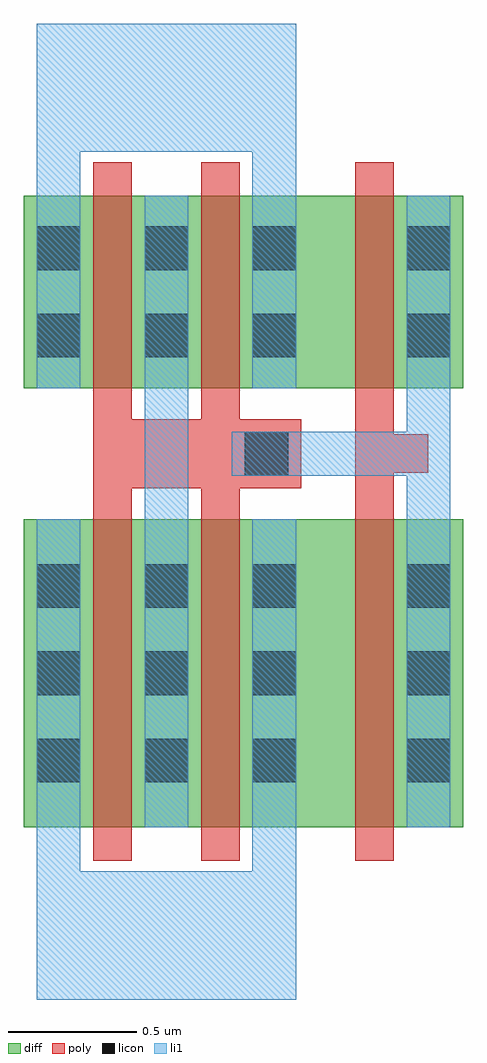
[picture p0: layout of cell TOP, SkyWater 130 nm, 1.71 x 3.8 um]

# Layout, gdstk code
import gdstk
lib = gdstk.Library(unit=1e-6, precision=1e-09)
def R(c, l, rs):  # rectangles x0, y0, x1, y1
    for r in rs: c.add(gdstk.rectangle(r[:2], r[2:], *l))
def A(c, l, x, y, w, h, nx, ny, dx, dy):  # array of equal rectangles
    R(c, l, [(x+i*dx, y+j*dy, x+i*dx+w, y+j*dy+h) for i in range(nx) for j in range(ny)])
diff = (65, 20)
poly = (66, 20)
licon = (66, 44)
li1 = (67, 20)

top = lib.new_cell('TOP')
A(top, diff, -0.085, 0.42, 0.17, 1.2, 3, 1, 0.42, 0)
A(top, diff, -0.085, 2.13, 0.17, 0.75, 3, 1, 0.42, 0)
R(top, diff, [(-0.135,0.42,0.555,1.62), (0.285,0.42,0.975,1.62), (0.705,0.42,1.575,1.62), (1.355,0.42,1.525,1.62), (-0.135,2.13,0.555,2.88), (0.285,2.13,0.975,2.88), (0.705,2.13,1.575,2.88), (1.355,2.13,1.525,2.88)])
R(top, poly, [(0.135,0.29,0.285,1.75), (0.555,0.29,0.705,1.75), (1.155,0.29,1.305,1.75), (0.135,1.02,0.285,2.01), (0.555,1.02,0.705,2.01), (1.155,1.02,1.305,1.95), (0.135,1.74,0.285,2.505), (0.135,1.74,0.705,2.01), (0.555,1.74,0.705,2.505), (0.555,1.74,0.81,2.01), (0.675,1.74,0.945,2.01), (1.155,1.8,1.305,2.505), (1.155,1.8,1.44,1.95), (0.135,2,0.285,3.01), (0.555,2,0.705,3.01), (1.155,2,1.305,3.01)])
A(top, licon, -0.085, 0.595, 0.17, 0.17, 3, 3, 0.42, 0.34)
A(top, licon, 1.355, 0.595, 0.17, 0.17, 1, 3, 0, 0.34)
A(top, licon, -0.085, 2.25, 0.17, 0.17, 3, 2, 0.42, 0.34)
R(top, licon, [(0.725,1.79,0.895,1.96), (1.355,2.25,1.525,2.42), (1.355,2.59,1.525,2.76)])
A(top, li1, -0.085, 0.42, 0.17, 1.2, 3, 1, 0.42, 0)
A(top, li1, -0.085, 2.13, 0.17, 0.75, 3, 1, 0.42, 0)
R(top, li1, [(-0.085,-0.25,0.925,0.25), (-0.085,-0.25,0.085,1.02), (0.755,-0.25,0.925,1.02), (1.355,0.42,1.525,1.62), (0.335,1.02,0.505,1.875), (1.355,1.02,1.525,1.96), (0.675,1.79,0.945,1.96), (0.81,1.79,1.525,1.96), (1.355,1.79,1.525,2.505), (0.335,1.875,0.505,2.505), (1.355,2.13,1.525,2.88), (-0.085,2.505,0.085,3.55), (0.755,2.505,0.925,3.55), (-0.085,3.05,0.925,3.55)])

lib.write_gds('TOP.gds')
